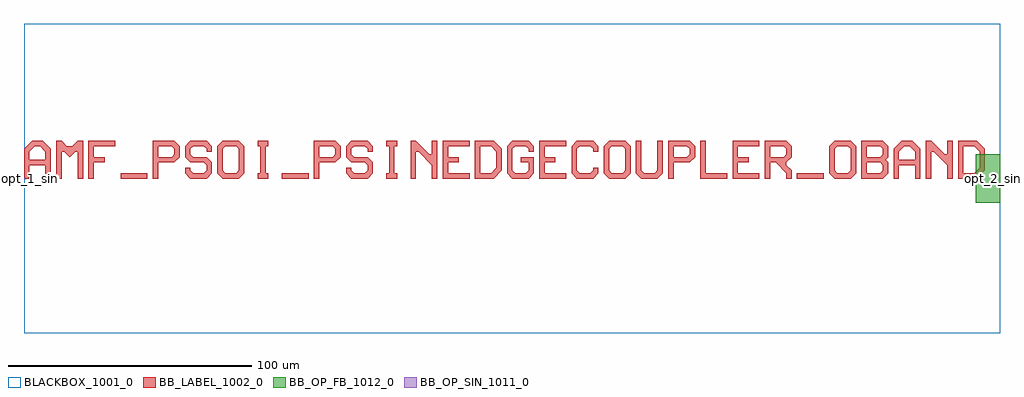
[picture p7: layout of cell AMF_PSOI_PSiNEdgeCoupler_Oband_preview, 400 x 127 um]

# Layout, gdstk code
import gdstk
lib = gdstk.Library(unit=1e-6, precision=1e-09)
def R(c, l, rs):  # rectangles x0, y0, x1, y1
    for r in rs: c.add(gdstk.rectangle(r[:2], r[2:], *l))
def P(c, l, *ps):  # polygons
    for p in ps: c.add(gdstk.Polygon(p, *l))
BLACKBOX_1001_0 = (1001, 0)
BB_LABEL_1002_0 = (1002, 0)
BB_OP_SIN_1011_0 = (1011, 0)
BB_OP_FB_1012_0 = (1012, 0)

amf_psoi_psinedgecoupler = lib.new_cell('AMF_PSOI_PSiNEdgeCoupler_Oband_preview')
R(amf_psoi_psinedgecoupler, BLACKBOX_1001_0, [(0,-63.5,400,63.5)])
R(amf_psoi_psinedgecoupler, BB_LABEL_1002_0, [(39.603,-0.007,50.603,2.193), (105.603,-0.007,116.603,2.193), (316.803,-0.007,327.803,2.193)])
P(amf_psoi_psinedgecoupler, BB_LABEL_1002_0, [(0.003,-0.007),(0.003,12.093),(3.303,15.393),(7.703,15.393),(9.903,13.193),(4.403,13.193),(2.203,10.993),(2.203,7.693),(8.803,7.693),(8.803,10.993),(6.603,13.193),(9.903,13.193),(11.003,12.093),(11.003,-0.007),(8.803,-0.007),(8.803,5.493),(2.203,5.493),(2.203,-0.007)],
  [(13.203,-0.007),(13.203,15.393),(15.403,15.393),(17.603,13.193),(19.803,13.193),(22.003,15.393),(24.203,15.393),(24.203,-0.007),(22.003,-0.007),(22.003,10.993),(20.903,10.993),(18.703,8.793),(16.503,10.993),(15.403,10.993),(15.403,-0.007)],
  [(26.403,-0.007),(26.403,15.393),(37.403,15.393),(37.403,13.193),(28.603,13.193),(28.603,8.793),(33.003,8.793),(33.003,6.593),(28.603,6.593),(28.603,-0.007)],
  [(52.803,-0.007),(52.803,15.393),(61.603,15.393),(63.803,13.193),(63.803,8.793),(61.603,6.593),(55.003,6.593),(55.003,8.793),(60.503,8.793),(61.603,9.893),(61.603,12.093),(60.503,13.193),(55.003,13.193),(55.003,-0.007)],
  [(68.203,-0.007),(66.003,2.193),(66.003,4.393),(68.203,4.393),(68.203,3.293),(69.303,2.193),(73.703,2.193),(74.803,3.293),(74.803,5.493),(73.703,6.593),(68.203,6.593),(66.003,8.793),(66.003,13.193),(68.203,15.393),(74.803,15.393),(77.003,13.193),(77.003,10.993),(74.803,10.993),(74.803,12.093),(73.703,13.193),(69.303,13.193),(68.203,12.093),(68.203,9.893),(69.303,8.793),(74.803,8.793),(77.003,6.593),(77.003,2.193),(74.803,-0.007)],
  [(81.403,-0.007),(79.203,2.193),(79.203,13.193),(81.403,15.393),(88.003,15.393),(90.203,13.193),(90.203,7.693),(88.003,7.693),(88.003,12.093),(86.903,13.193),(82.503,13.193),(81.403,12.093),(81.403,3.293),(82.503,2.193),(86.903,2.193),(88.003,3.293),(88.003,7.693),(90.203,7.693),(90.203,2.193),(88.003,-0.007)],
  [(95.703,-0.007),(95.703,2.193),(96.803,2.193),(96.803,13.193),(95.703,13.193),(95.703,15.393),(100.103,15.393),(100.103,13.193),(99.003,13.193),(99.003,2.193),(100.103,2.193),(100.103,-0.007)],
  [(118.803,-0.007),(118.803,15.393),(127.603,15.393),(129.803,13.193),(129.803,8.793),(127.603,6.593),(121.003,6.593),(121.003,8.793),(126.503,8.793),(127.603,9.893),(127.603,12.093),(126.503,13.193),(121.003,13.193),(121.003,-0.007)],
  [(134.203,-0.007),(132.003,2.193),(132.003,4.393),(134.203,4.393),(134.203,3.293),(135.303,2.193),(139.703,2.193),(140.803,3.293),(140.803,5.493),(139.703,6.593),(134.203,6.593),(132.003,8.793),(132.003,13.193),(134.203,15.393),(140.803,15.393),(143.003,13.193),(143.003,10.993),(140.803,10.993),(140.803,12.093),(139.703,13.193),(135.303,13.193),(134.203,12.093),(134.203,9.893),(135.303,8.793),(140.803,8.793),(143.003,6.593),(143.003,2.193),(140.803,-0.007)],
  [(148.503,-0.007),(148.503,2.193),(149.603,2.193),(149.603,13.193),(148.503,13.193),(148.503,15.393),(152.903,15.393),(152.903,13.193),(151.803,13.193),(151.803,2.193),(152.903,2.193),(152.903,-0.007)],
  [(158.403,-0.007),(158.403,15.393),(160.603,15.393),(166.103,9.893),(167.203,9.893),(167.203,15.393),(169.403,15.393),(169.403,-0.007),(167.203,-0.007),(167.203,5.493),(161.703,10.993),(160.603,10.993),(160.603,-0.007)],
  [(171.603,-0.007),(171.603,15.393),(182.603,15.393),(182.603,13.193),(173.803,13.193),(173.803,8.793),(178.203,8.793),(178.203,6.593),(173.803,6.593),(173.803,2.193),(182.603,2.193),(182.603,-0.007)],
  [(184.803,-0.007),(184.803,15.393),(192.503,15.393),(194.703,13.193),(187.003,13.193),(187.003,2.193),(191.403,2.193),(193.603,4.393),(193.603,10.993),(191.403,13.193),(194.703,13.193),(195.803,12.093),(195.803,3.293),(192.503,-0.007)],
  [(200.203,-0.007),(198.003,2.193),(198.003,13.193),(200.203,15.393),(206.803,15.393),(209.003,13.193),(209.003,10.993),(206.803,10.993),(206.803,12.093),(205.703,13.193),(201.303,13.193),(200.203,12.093),(200.203,3.293),(201.303,2.193),(205.703,2.193),(206.803,3.293),(206.803,6.593),(203.503,6.593),(203.503,8.793),(209.003,8.793),(209.003,2.193),(206.803,-0.007)],
  [(211.203,-0.007),(211.203,15.393),(222.203,15.393),(222.203,13.193),(213.403,13.193),(213.403,8.793),(217.803,8.793),(217.803,6.593),(213.403,6.593),(213.403,2.193),(222.203,2.193),(222.203,-0.007)],
  [(226.603,-0.007),(224.403,2.193),(224.403,13.193),(226.603,15.393),(233.203,15.393),(235.403,13.193),(235.403,10.993),(233.203,10.993),(233.203,12.093),(232.103,13.193),(227.703,13.193),(226.603,12.093),(226.603,3.293),(227.703,2.193),(232.103,2.193),(233.203,3.293),(233.203,4.393),(235.403,4.393),(235.403,2.193),(233.203,-0.007)],
  [(239.803,-0.007),(237.603,2.193),(237.603,13.193),(239.803,15.393),(246.403,15.393),(248.603,13.193),(248.603,7.693),(246.403,7.693),(246.403,12.093),(245.303,13.193),(240.903,13.193),(239.803,12.093),(239.803,3.293),(240.903,2.193),(245.303,2.193),(246.403,3.293),(246.403,7.693),(248.603,7.693),(248.603,2.193),(246.403,-0.007)],
  [(253.003,-0.007),(250.803,2.193),(250.803,15.393),(253.003,15.393),(253.003,3.293),(254.103,2.193),(258.503,2.193),(259.603,3.293),(259.603,15.393),(261.803,15.393),(261.803,2.193),(259.603,-0.007)],
  [(264.003,-0.007),(264.003,15.393),(272.803,15.393),(275.003,13.193),(275.003,8.793),(272.803,6.593),(266.203,6.593),(266.203,8.793),(271.703,8.793),(272.803,9.893),(272.803,12.093),(271.703,13.193),(266.203,13.193),(266.203,-0.007)],
  [(277.203,-0.007),(277.203,15.393),(279.403,15.393),(279.403,2.193),(288.203,2.193),(288.203,-0.007)],
  [(290.403,-0.007),(290.403,15.393),(301.403,15.393),(301.403,13.193),(292.603,13.193),(292.603,8.793),(297.003,8.793),(297.003,6.593),(292.603,6.593),(292.603,2.193),(301.403,2.193),(301.403,-0.007)],
  [(303.603,-0.007),(303.603,15.393),(312.403,15.393),(314.603,13.193),(305.803,13.193),(305.803,8.793),(311.303,8.793),(312.403,9.893),(312.403,12.093),(311.303,13.193),(314.603,13.193),(314.603,8.793),(312.403,6.593),(312.403,5.493),(314.603,3.293),(314.603,-0.007),(312.403,-0.007),(312.403,2.193),(308.003,6.593),(305.803,6.593),(305.803,-0.007)],
  [(332.203,-0.007),(330.003,2.193),(330.003,13.193),(332.203,15.393),(338.803,15.393),(341.003,13.193),(341.003,7.693),(338.803,7.693),(338.803,12.093),(337.703,13.193),(333.303,13.193),(332.203,12.093),(332.203,3.293),(333.303,2.193),(337.703,2.193),(338.803,3.293),(338.803,7.693),(341.003,7.693),(341.003,2.193),(338.803,-0.007)],
  [(343.203,-0.007),(343.203,15.393),(352.003,15.393),(354.203,13.193),(345.403,13.193),(345.403,8.793),(350.903,8.793),(352.003,9.893),(352.003,12.093),(350.903,13.193),(354.203,13.193),(354.203,8.793),(353.103,7.693),(354.203,6.593),(345.403,6.593),(345.403,2.193),(350.903,2.193),(352.003,3.293),(352.003,5.493),(350.903,6.593),(354.203,6.593),(354.203,2.193),(352.003,-0.007)],
  [(356.403,-0.007),(356.403,12.093),(359.703,15.393),(364.103,15.393),(366.303,13.193),(360.803,13.193),(358.603,10.993),(358.603,7.693),(365.203,7.693),(365.203,10.993),(363.003,13.193),(366.303,13.193),(367.403,12.093),(367.403,-0.007),(365.203,-0.007),(365.203,5.493),(358.603,5.493),(358.603,-0.007)],
  [(369.603,-0.007),(369.603,15.393),(371.803,15.393),(377.303,9.893),(378.403,9.893),(378.403,15.393),(380.603,15.393),(380.603,-0.007),(378.403,-0.007),(378.403,5.493),(372.903,10.993),(371.803,10.993),(371.803,-0.007)],
  [(382.803,-0.007),(382.803,15.393),(390.503,15.393),(392.703,13.193),(385.003,13.193),(385.003,2.193),(389.403,2.193),(391.603,4.393),(391.603,10.993),(389.403,13.193),(392.703,13.193),(393.803,12.093),(393.803,3.293),(390.503,-0.007)])
R(amf_psoi_psinedgecoupler, BB_OP_SIN_1011_0, [(0,-0.4,0.8,0.4)])
R(amf_psoi_psinedgecoupler, BB_OP_FB_1012_0, [(390,-10,400,10)])
amf_psoi_psinedgecoupler.add(gdstk.Label('opt_1_sin', (0,0), layer=1011, texttype=0))
amf_psoi_psinedgecoupler.add(gdstk.Label('opt_2_sin', (400,0), layer=1012, texttype=0))

lib.write_gds('AMF_PSOI_PSiNEdgeCoupler_Oband_preview.gds')
